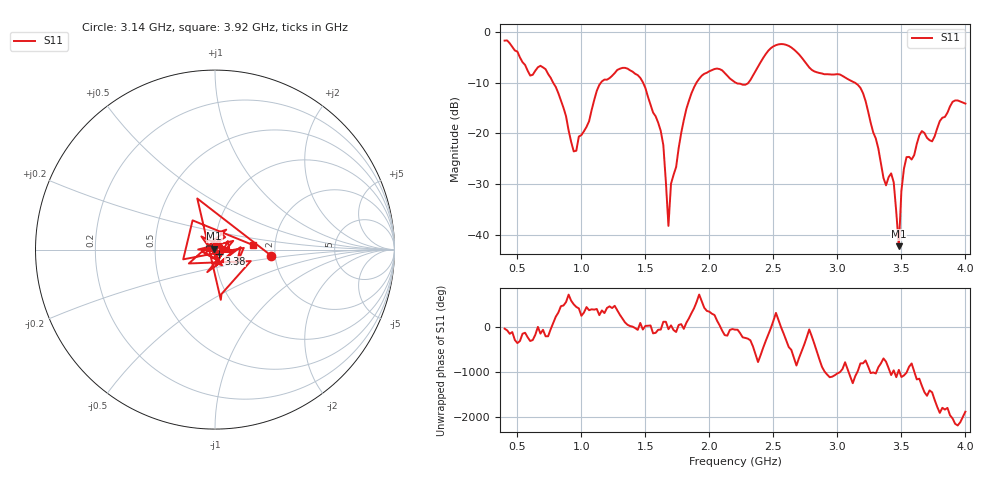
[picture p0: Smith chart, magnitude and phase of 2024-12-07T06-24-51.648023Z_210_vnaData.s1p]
!Created with skrf (http://scikit-rf.org).
# Hz S RI R 50.0
!freq ReS11 ImS11
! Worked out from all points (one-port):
!   181 points, 400 MHz to 4 GHz, reference 50 ohm
!   lowest |S11| = -42.2 dB at 3.48 GHz (marker M1), VSWR 1.02, Z = 49.5 + j0.571 ohm
!   |S11| at or under -10 dB: 779.6 MHz to 1.152 GHz (372.3 MHz wide, 38.6 % of centre); 1.482 GHz to 1.898 GHz (416.2 MHz wide, 24.6 % of centre); 3.138 GHz to end of sweep (the widest 3 of 4)
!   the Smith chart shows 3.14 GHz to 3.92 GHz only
!   S11 on the Smith chart (normalised r, x): 3.14 GHz: 1.91, -0.14; 3.38 GHz: 1.04, -0.05; 3.92 GHz: 1.53, +0.08
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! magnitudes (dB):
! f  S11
! 400 MHz  -1.7
! 600 MHz  -8.6
! 720 MHz  -7.3
! 860 MHz  -14.9
! 960 MHz  -23.4
! 1.14 GHz  -10.4
! 1.3 GHz  -7.2
! 1.46 GHz  -9.0
! 1.62 GHz  -19.5
! 1.64 GHz  -22.3
! 1.68 GHz  -38.2
! 1.7 GHz  -29.9
! 1.76 GHz  -22.9
! 1.84 GHz  -13.6
! 1.94 GHz  -8.6
! 2.2 GHz  -9.9
! 2.5 GHz  -2.8
! 2.66 GHz  -3.4
! 3.1 GHz  -9.5
! 3.14 GHz  -10.0
! 3.22 GHz  -13.6
! 3.38 GHz  -30.2
! 3.44 GHz  -29.6
! 3.48 GHz  -42.2
! 3.5 GHz  -31.3
! 3.56 GHz  -24.6
! 3.92 GHz  -13.5
! 4 GHz  -14.1
